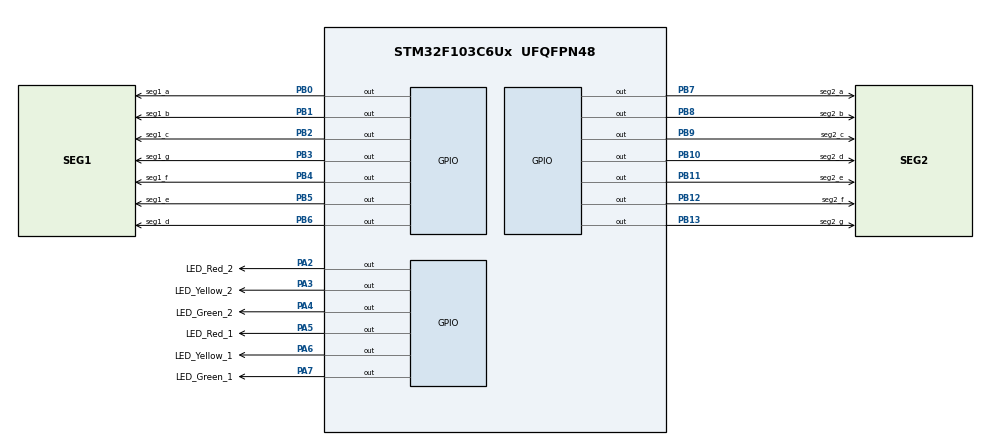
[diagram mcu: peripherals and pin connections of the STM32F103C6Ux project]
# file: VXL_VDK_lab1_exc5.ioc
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Mcu.Family=STM32F1
Mcu.Name=STM32F103C6Ux
Mcu.Package=UFQFPN48
NVIC.PriorityGroup=NVIC_PRIORITYGROUP_4
PA13.Mode=Serial_Wire
PA13.Signal=SYS_JTMS-SWDIO
PA14.Mode=Serial_Wire
PA14.Signal=SYS_JTCK-SWCLK
PA2.GPIO_Label=LED_Red_2
PA2.Signal=GPIO_Output
PA3.GPIO_Label=LED_Yellow_2
PA3.Signal=GPIO_Output
PA4.GPIO_Label=LED_Green_2
PA4.Signal=GPIO_Output
PA5.GPIO_Label=LED_Red_1
PA5.Signal=GPIO_Output
PA6.GPIO_Label=LED_Yellow_1
PA6.Signal=GPIO_Output
PA7.GPIO_Label=LED_Green_1
PA7.Signal=GPIO_Output
PB0.GPIO_Label=seg1_a
PB0.Signal=GPIO_Output
PB1.GPIO_Label=seg1_b
PB1.Signal=GPIO_Output
PB10.GPIO_Label=seg2_d
PB10.Signal=GPIO_Output
PB11.GPIO_Label=seg2_e
PB11.Signal=GPIO_Output
PB12.GPIO_Label=seg2_f
PB12.Signal=GPIO_Output
PB13.GPIO_Label=seg2_g
PB13.Signal=GPIO_Output
PB2.GPIO_Label=seg1_c
PB2.Signal=GPIO_Output
PB3.GPIO_Label=seg1_g
PB3.Signal=GPIO_Output
PB4.GPIO_Label=seg1_f
PB4.Signal=GPIO_Output
PB5.GPIO_Label=seg1_e
PB5.Signal=GPIO_Output
PB6.GPIO_Label=seg1_d
PB6.Signal=GPIO_Output
PB7.GPIO_Label=seg2_a
PB7.Signal=GPIO_Output
PB8.GPIO_Label=seg2_b
PB8.Signal=GPIO_Output
PB9.GPIO_Label=seg2_c
PB9.Signal=GPIO_Output
ProjectManager.HeapSize=0x200
ProjectManager.StackSize=0x400
ProjectManager.TargetToolchain=STM32CubeIDE
RCC.APB1Freq_Value=8000000
RCC.APB2Freq_Value=8000000
board=custom

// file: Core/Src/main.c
/* USER CODE BEGIN Header */
/**
  ******************************************************************************
  * @file           : main.c
  * @brief          : Main program body
  ******************************************************************************
  * @attention
  *
  * Copyright (c) 2025 STMicroelectronics.
  * All rights reserved.
  *
  * This software is licensed under terms that can be found in the LICENSE file
  * in the root directory of this software component.
  * If no LICENSE file comes with this software, it is provided AS-IS.
  *
  ******************************************************************************
  */
/* USER CODE END Header */
#include "main.h"

/* USER CODE BEGIN Includes */
#include "stdint.h"
/* USER CODE END Includes */

/* USER CODE BEGIN PD */
#define TIMER_SCALE 100
/* USER CODE END PD */

/* USER CODE BEGIN PV */
uint8_t led7_table[10][7] =    {{0,0,0,0,0,0,1},
								{1,0,0,1,1,1,1},
								{0,0,1,0,0,1,0},
								{0,0,0,0,1,1,0},
								{1,0,0,1,1,0,0},
								{0,1,0,0,1,0,0},
								{0,1,0,0,0,0,0},
								{0,0,0,1,1,1,1},
								{0,0,0,0,0,0,0},
								{0,0,0,0,1,0,0}};
/* USER CODE END PV */

void SystemClock_Config(void);
static void MX_GPIO_Init(void);
/* USER CODE BEGIN PFP */
void display7SEG_1(int num);
void display7SEG_2(int num);
/* USER CODE END PFP */

/* USER CODE BEGIN 0 */
void display7SEG_1(int num){
	HAL_GPIO_WritePin(seg1_a_GPIO_Port, seg1_a_Pin, led7_table[num][0]);
	HAL_GPIO_WritePin(seg1_b_GPIO_Port, seg1_b_Pin, led7_table[num][1]);
	HAL_GPIO_WritePin(seg1_c_GPIO_Port, seg1_c_Pin, led7_table[num][2]);
	HAL_GPIO_WritePin(seg1_g_GPIO_Port, seg1_g_Pin, led7_table[num][3]);
	HAL_GPIO_WritePin(seg1_f_GPIO_Port, seg1_f_Pin, led7_table[num][4]);
	HAL_GPIO_WritePin(seg1_e_GPIO_Port, seg1_e_Pin, led7_table[num][5]);
	HAL_GPIO_WritePin(seg1_d_GPIO_Port, seg1_d_Pin, led7_table[num][6]);
}
void display7SEG_2(int num){
	HAL_GPIO_WritePin(seg2_a_GPIO_Port, seg2_a_Pin, led7_table[num][0]);
	HAL_GPIO_WritePin(seg2_b_GPIO_Port, seg2_b_Pin, led7_table[num][1]);
	HAL_GPIO_WritePin(seg2_c_GPIO_Port, seg2_c_Pin, led7_table[num][2]);
	HAL_GPIO_WritePin(seg2_g_GPIO_Port, seg2_d_Pin, led7_table[num][3]);
	HAL_GPIO_WritePin(seg2_f_GPIO_Port, seg2_e_Pin, led7_table[num][4]);
	HAL_GPIO_WritePin(seg2_e_GPIO_Port, seg2_f_Pin, led7_table[num][5]);
	HAL_GPIO_WritePin(seg2_d_GPIO_Port, seg2_g_Pin, led7_table[num][6]);
}
/* USER CODE END 0 */

int main(void)
{

  /* MCU Configuration--------------------------------------------------------*/

  /* Reset of all peripherals, Initializes the Flash interface and the Systick. */
  HAL_Init();

  /* Configure the system clock */
  SystemClock_Config();

  /* Initialize all configured peripherals */
  MX_GPIO_Init();
  /* USER CODE BEGIN 2 */
  uint16_t led_cnt = 0;
  uint16_t Led7_seg1_cnt = 290;
  uint16_t Led7_seg2_cnt = 116;
  HAL_GPIO_WritePin(LED_Red_1_GPIO_Port, LED_Red_1_Pin, RESET);
  HAL_GPIO_WritePin(LED_Yellow_1_GPIO_Port, LED_Yellow_1_Pin, SET);
  HAL_GPIO_WritePin(LED_Green_1_GPIO_Port, LED_Green_1_Pin, SET);
  HAL_GPIO_WritePin(LED_Red_2_GPIO_Port, LED_Red_2_Pin, SET);
  HAL_GPIO_WritePin(LED_Yellow_2_GPIO_Port, LED_Yellow_2_Pin, SET);
  HAL_GPIO_WritePin(LED_Green_2_GPIO_Port, LED_Green_2_Pin, RESET);
  /* USER CODE END 2 */

  /* Infinite loop */
  /* USER CODE BEGIN WHILE */
  while (1)
  {

	  /*LED BEHAVIOR CODE BEGIN*/
      // LED 1
	  if(led_cnt==290){
		  HAL_GPIO_WritePin(LED_Red_1_GPIO_Port, LED_Red_1_Pin, SET);
		  HAL_GPIO_WritePin(LED_Yellow_1_GPIO_Port, LED_Yellow_1_Pin, SET);
		  HAL_GPIO_WritePin(LED_Green_1_GPIO_Port, LED_Green_1_Pin, RESET);
		  Led7_seg1_cnt = 116;
	  }
	  else if(led_cnt==406){
		  HAL_GPIO_WritePin(LED_Red_1_GPIO_Port, LED_Red_1_Pin, SET);
		  HAL_GPIO_WritePin(LED_Yellow_1_GPIO_Port, LED_Yellow_1_Pin, RESET);
		  HAL_GPIO_WritePin(LED_Green_1_GPIO_Port, LED_Green_1_Pin, SET);
		  Led7_seg1_cnt = 174;
	  }
	  else if(led_cnt==580){
		  HAL_GPIO_WritePin(LED_Red_1_GPIO_Port, LED_Red_1_Pin, RESET);
		  HAL_GPIO_WritePin(LED_Yellow_1_GPIO_Port, LED_Yellow_1_Pin, SET);
		  HAL_GPIO_WritePin(LED_Green_1_GPIO_Port, LED_Green_1_Pin, SET);
		  Led7_seg1_cnt = 290;

	  }
	  //LED 2
	  if(led_cnt==116){

		  HAL_GPIO_WritePin(LED_Red_2_GPIO_Port, LED_Red_2_Pin, SET);
		  HAL_GPIO_WritePin(LED_Yellow_2_GPIO_Port, LED_Yellow_2_Pin, RESET);
		  HAL_GPIO_WritePin(LED_Green_2_GPIO_Port, LED_Green_2_Pin, SET);
		  Led7_seg2_cnt = 174;
	  }
	  else if(led_cnt==290){
		  HAL_GPIO_WritePin(LED_Red_2_GPIO_Port, LED_Red_2_Pin, RESET);
		  HAL_GPIO_WritePin(LED_Yellow_2_GPIO_Port, LED_Yellow_2_Pin, SET);
		  HAL_GPIO_WritePin(LED_Green_2_GPIO_Port, LED_Green_2_Pin, SET);
		  Led7_seg2_cnt = 290;
	  }
	  else if(led_cnt==580){
		  HAL_GPIO_WritePin(LED_Red_2_GPIO_Port, LED_Red_2_Pin, SET);
		  HAL_GPIO_WritePin(LED_Yellow_2_GPIO_Port, LED_Yellow_2_Pin, SET);
		  HAL_GPIO_WritePin(LED_Green_2_GPIO_Port, LED_Green_2_Pin, RESET);
		  Led7_seg2_cnt = 116;

	  }
	  if(led_cnt>=580) led_cnt = 0;

	  display7SEG_1((Led7_seg1_cnt/58)+1);
	  display7SEG_2((Led7_seg2_cnt/58)+1);

	  ++led_cnt;
	  --Led7_seg1_cnt;
	  --Led7_seg2_cnt;
	  /*LED BEHAVIOR CODE END*/

	  HAL_Delay(10);
    /* USER CODE END WHILE */

  }
}

void SystemClock_Config(void)
{
  RCC_OscInitTypeDef RCC_OscInitStruct = {0};
  RCC_ClkInitTypeDef RCC_ClkInitStruct = {0};

  /** Initializes the RCC Oscillators according to the specified parameters
  * in the RCC_OscInitTypeDef structure.
  */
  RCC_OscInitStruct.OscillatorType = RCC_OSCILLATORTYPE_HSI;
  RCC_OscInitStruct.HSIState = RCC_HSI_ON;
  RCC_OscInitStruct.HSICalibrationValue = RCC_HSICALIBRATION_DEFAULT;
  RCC_OscInitStruct.PLL.PLLState = RCC_PLL_NONE;
  if (HAL_RCC_OscConfig(&RCC_OscInitStruct) != HAL_OK)
  {
    Error_Handler();
  }

  /** Initializes the CPU, AHB and APB buses clocks
  */
  RCC_ClkInitStruct.ClockType = RCC_CLOCKTYPE_HCLK|RCC_CLOCKTYPE_SYSCLK
                              |RCC_CLOCKTYPE_PCLK1|RCC_CLOCKTYPE_PCLK2;
  RCC_ClkInitStruct.SYSCLKSource = RCC_SYSCLKSOURCE_HSI;
  RCC_ClkInitStruct.AHBCLKDivider = RCC_SYSCLK_DIV1;
  RCC_ClkInitStruct.APB1CLKDivider = RCC_HCLK_DIV1;
  RCC_ClkInitStruct.APB2CLKDivider = RCC_HCLK_DIV1;

  if (HAL_RCC_ClockConfig(&RCC_ClkInitStruct, FLASH_LATENCY_0) != HAL_OK)
  {
    Error_Handler();
  }
}

static void MX_GPIO_Init(void)
{
  GPIO_InitTypeDef GPIO_InitStruct = {0};

  /* GPIO Ports Clock Enable */
  __HAL_RCC_GPIOA_CLK_ENABLE();
  __HAL_RCC_GPIOB_CLK_ENABLE();

  /*Configure GPIO pin Output Level */
  HAL_GPIO_WritePin(GPIOA, LED_Red_2_Pin|LED_Yellow_2_Pin|LED_Green_2_Pin|LED_Red_1_Pin
                          |LED_Yellow_1_Pin|LED_Green_1_Pin, GPIO_PIN_RESET);

  /*Configure GPIO pin Output Level */
  HAL_GPIO_WritePin(GPIOB, seg1_a_Pin|seg1_b_Pin|seg1_c_Pin|seg2_d_Pin
                          |seg2_e_Pin|seg2_f_Pin|seg2_g_Pin|seg1_g_Pin
                          |seg1_f_Pin|seg1_e_Pin|seg1_d_Pin|seg2_a_Pin
                          |seg2_b_Pin|seg2_c_Pin, GPIO_PIN_RESET);

  /*Configure GPIO pins : LED_Red_2_Pin LED_Yellow_2_Pin LED_Green_2_Pin LED_Red_1_Pin
                           LED_Yellow_1_Pin LED_Green_1_Pin */
  GPIO_InitStruct.Pin = LED_Red_2_Pin|LED_Yellow_2_Pin|LED_Green_2_Pin|LED_Red_1_Pin
                          |LED_Yellow_1_Pin|LED_Green_1_Pin;
  GPIO_InitStruct.Mode = GPIO_MODE_OUTPUT_PP;
  GPIO_InitStruct.Pull = GPIO_NOPULL;
  GPIO_InitStruct.Speed = GPIO_SPEED_FREQ_LOW;
  HAL_GPIO_Init(GPIOA, &GPIO_InitStruct);

  /*Configure GPIO pins : seg1_a_Pin seg1_b_Pin seg1_c_Pin seg2_d_Pin
                           seg2_e_Pin seg2_f_Pin seg2_g_Pin seg1_g_Pin
                           seg1_f_Pin seg1_e_Pin seg1_d_Pin seg2_a_Pin
                           seg2_b_Pin seg2_c_Pin */
  GPIO_InitStruct.Pin = seg1_a_Pin|seg1_b_Pin|seg1_c_Pin|seg2_d_Pin
                          |seg2_e_Pin|seg2_f_Pin|seg2_g_Pin|seg1_g_Pin
                          |seg1_f_Pin|seg1_e_Pin|seg1_d_Pin|seg2_a_Pin
                          |seg2_b_Pin|seg2_c_Pin;
  GPIO_InitStruct.Mode = GPIO_MODE_OUTPUT_PP;
  GPIO_InitStruct.Pull = GPIO_NOPULL;
  GPIO_InitStruct.Speed = GPIO_SPEED_FREQ_LOW;
  HAL_GPIO_Init(GPIOB, &GPIO_InitStruct);

}

void Error_Handler(void)
{
  __disable_irq();
  while (1)
  {
  }
}
